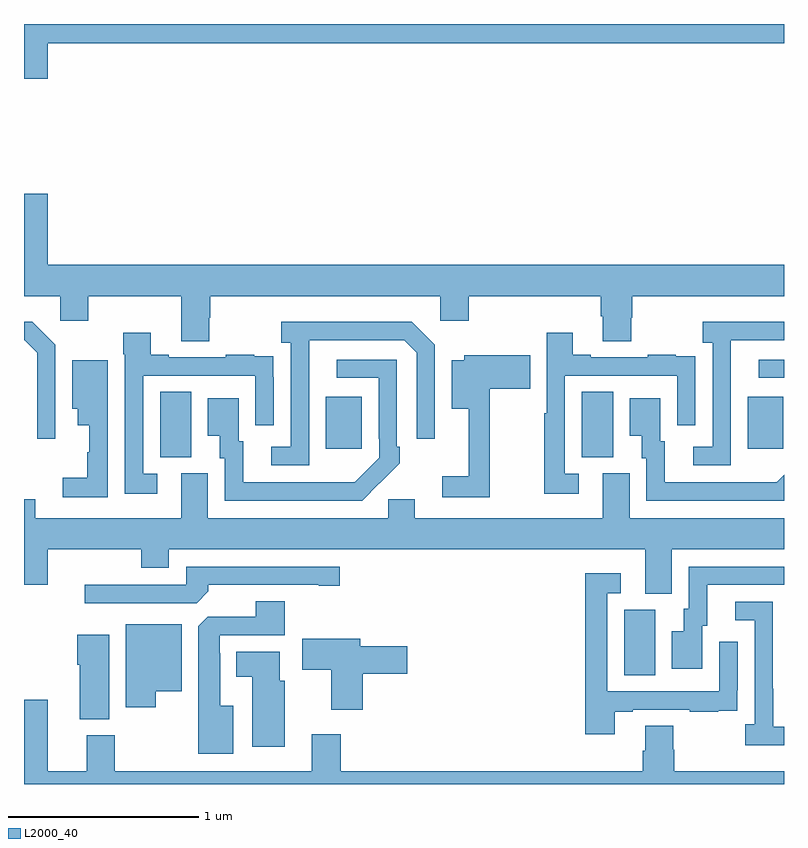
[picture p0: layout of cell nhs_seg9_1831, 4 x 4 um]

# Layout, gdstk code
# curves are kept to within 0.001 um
import gdstk
lib = gdstk.Library(unit=1e-6, precision=1e-09)
def R(c, l, rs):  # rectangles x0, y0, x1, y1
    for r in rs: c.add(gdstk.rectangle(r[:2], r[2:], *l))
def P(c, l, *ps):  # polygons
    for p in ps: c.add(gdstk.Polygon(p, *l))
L2000_40 = (2000, 40)

nhs_seg9_1831 = lib.new_cell('nhs_seg9_1831')
R(nhs_seg9_1831, L2000_40, [(216.158,1213.072,216.322,1213.416), (213.716,1214.221,213.88,1214.564), (215.936,1214.221,216.1,1214.564), (214.589,1214.265,214.777,1214.539), (216.809,1214.265,216.997,1214.539), (216.867,1214.637,217,1214.733)])
P(nhs_seg9_1831, L2000_40, [(213.124,1216.4),(217,1216.4),(217,1216.5),(213,1216.5),(213,1216.212),(213.124,1216.212)],
  [(213.975,1214.955),(213.98,1214.955),(213.98,1215.068),(215.19,1215.068),(215.19,1214.937),(215.342,1214.937),(215.342,1215.068),(216.035,1215.068),(216.035,1214.962),(216.047,1214.962),(216.047,1214.83),(216.195,1214.83),(216.195,1214.955),(216.2,1214.955),(216.2,1215.068),(217,1215.068),(217,1215.232),(213.124,1215.232),(213.124,1215.607),(213,1215.607),(213,1215.068),(213.192,1215.068),(213.192,1214.937),(213.339,1214.937),(213.339,1215.068),(213.827,1215.068),(213.827,1214.83),(213.975,1214.83)],
  [(213.165,1214.811),(213.044,1214.932),(213,1214.932),(213,1214.835),(213.003,1214.835),(213.069,1214.769),(213.069,1214.316),(213.165,1214.316)],
  [(216.72,1214.635),(216.721,1214.635),(216.721,1214.835),(217,1214.835),(217,1214.932),(216.573,1214.932),(216.573,1214.822),(216.624,1214.822),(216.624,1214.274),(216.522,1214.274),(216.522,1214.178),(216.72,1214.178)],
  [(214.5,1214.635),(214.501,1214.835),(215.001,1214.835),(215.067,1214.769),(215.067,1214.316),(215.163,1214.316),(215.163,1214.811),(215.042,1214.932),(214.353,1214.932),(214.353,1214.822),(214.404,1214.822),(214.404,1214.274),(214.302,1214.274),(214.302,1214.178),(214.5,1214.178)],
  [(215.92,1214.133),(215.847,1214.133),(215.847,1214.649),(216.438,1214.649),(216.438,1214.388),(216.534,1214.388),(216.534,1214.642),(216.533,1214.642),(216.533,1214.751),(216.431,1214.751),(216.431,1214.758),(216.283,1214.758),(216.283,1214.745),(215.983,1214.745),(215.983,1214.758),(215.887,1214.758),(215.887,1214.875),(215.751,1214.875),(215.751,1214.451),(215.739,1214.451),(215.739,1214.028),(215.92,1214.028)],
  [(213.7,1214.133),(213.627,1214.133),(213.627,1214.649),(214.218,1214.649),(214.218,1214.388),(214.314,1214.388),(214.314,1214.642),(214.313,1214.642),(214.313,1214.751),(214.211,1214.751),(214.211,1214.758),(214.063,1214.758),(214.063,1214.745),(213.763,1214.745),(213.763,1214.758),(213.667,1214.758),(213.667,1214.875),(213.523,1214.875),(213.523,1214.762),(213.531,1214.762),(213.531,1214.028),(213.7,1214.028)],
  [(215.452,1214.58),(215.665,1214.58),(215.665,1214.757),(215.316,1214.757),(215.316,1214.731),(215.252,1214.731),(215.252,1214.474),(215.342,1214.474),(215.342,1214.119),(215.202,1214.119),(215.202,1214.01),(215.452,1214.01)],
  [(214.871,1214.083),(214.872,1214.082),(214.977,1214.187),(214.977,1214.275),(214.962,1214.275),(214.962,1214.733),(214.647,1214.733),(214.647,1214.637),(214.866,1214.637),(214.866,1214.317),(214.869,1214.317),(214.869,1214.217),(214.741,1214.089),(214.153,1214.088),(214.153,1214.304),(214.129,1214.304),(214.129,1214.53),(213.968,1214.53),(213.968,1214.333),(214.031,1214.333),(214.031,1214.214),(214.056,1214.214),(214.056,1213.992),(214.78,1213.992)],
  [(213.441,1214.491),(213.442,1214.491),(213.442,1214.731),(213.254,1214.731),(213.254,1214.474),(213.284,1214.474),(213.284,1214.387),(213.344,1214.387),(213.344,1214.247),(213.333,1214.247),(213.333,1214.111),(213.204,1214.111),(213.204,1214.01),(213.441,1214.01)],
  [(217,1214.128),(216.961,1214.089),(216.373,1214.088),(216.373,1214.304),(216.349,1214.304),(216.349,1214.53),(216.188,1214.53),(216.188,1214.333),(216.251,1214.333),(216.251,1214.214),(216.276,1214.214),(216.276,1213.992),(217,1213.992)],
  [(216.409,1213.736),(217,1213.736),(217,1213.9),(216.187,1213.9),(216.187,1214.136),(216.047,1214.136),(216.047,1213.9),(215.056,1213.9),(215.056,1213.998),(214.917,1213.998),(214.917,1213.9),(213.967,1213.9),(213.967,1214.136),(213.827,1214.136),(213.827,1213.9),(213.058,1213.9),(213.058,1213.998),(213,1213.998),(213,1213.548),(213.124,1213.548),(213.124,1213.736),(213.616,1213.736),(213.616,1213.637),(213.763,1213.637),(213.763,1213.736),(216.269,1213.736),(216.269,1213.501),(216.409,1213.501)],
  [(216.571,1213.332),(216.595,1213.332),(216.595,1213.548),(217,1213.548),(217,1213.644),(216.498,1213.644),(216.498,1213.422),(216.473,1213.422),(216.473,1213.303),(216.41,1213.303),(216.41,1213.107),(216.571,1213.107)],
  [(213.971,1213.514),(213.971,1213.548),(214.55,1213.548),(214.55,1213.543),(214.663,1213.543),(214.663,1213.644),(213.855,1213.644),(213.855,1213.548),(213.321,1213.548),(213.321,1213.452),(213.909,1213.452)],
  [(216.109,1212.879),(216.205,1212.879),(216.205,1212.891),(216.505,1212.891),(216.505,1212.879),(216.653,1212.879),(216.653,1212.885),(216.755,1212.885),(216.755,1212.994),(216.756,1212.994),(216.756,1213.249),(216.66,1213.249),(216.66,1212.987),(216.069,1212.987),(216.069,1213.503),(216.142,1213.503),(216.142,1213.609),(215.953,1213.609),(215.953,1212.762),(216.109,1212.762)],
  [(214.102,1212.913),(214.033,1212.913),(214.033,1213.187),(214.029,1213.187),(214.029,1213.284),(214.373,1213.284),(214.373,1213.463),(214.22,1213.463),(214.22,1213.38),(213.966,1213.38),(213.917,1213.331),(213.917,1212.659),(214.102,1212.659)],
  [(217,1212.801),(216.943,1212.801),(216.943,1213.001),(216.942,1213.001),(216.942,1213.458),(216.744,1213.458),(216.744,1213.362),(216.846,1213.362),(216.846,1212.814),(216.795,1212.814),(216.795,1212.704),(217,1212.704)],
  [(213.694,1212.989),(213.829,1212.989),(213.829,1213.342),(213.536,1213.342),(213.536,1212.903),(213.694,1212.903)],
  [(213.448,1213.285),(213.281,1213.285),(213.281,1213.127),(213.293,1213.127),(213.293,1212.841),(213.448,1212.841)],
  [(214.784,1213.079),(215.017,1213.079),(215.017,1213.226),(214.771,1213.226),(214.771,1213.264),(214.464,1213.264),(214.464,1213.102),(214.616,1213.102),(214.616,1212.891),(214.784,1212.891)],
  [(214.372,1213.044),(214.345,1213.044),(214.345,1213.195),(214.118,1213.195),(214.118,1213.064),(214.202,1213.064),(214.202,1212.696),(214.372,1212.696)],
  [(217,1212.568),(216.422,1212.568),(216.422,1212.681),(216.417,1212.681),(216.417,1212.806),(216.269,1212.806),(216.269,1212.674),(216.257,1212.674),(216.257,1212.568),(214.667,1212.568),(214.667,1212.763),(214.514,1212.763),(214.514,1212.568),(213.477,1212.568),(213.477,1212.756),(213.329,1212.756),(213.329,1212.568),(213.124,1212.568),(213.124,1212.943),(213,1212.943),(213,1212.5),(217,1212.5)])

lib.write_gds('nhs_seg9_1831.gds')
